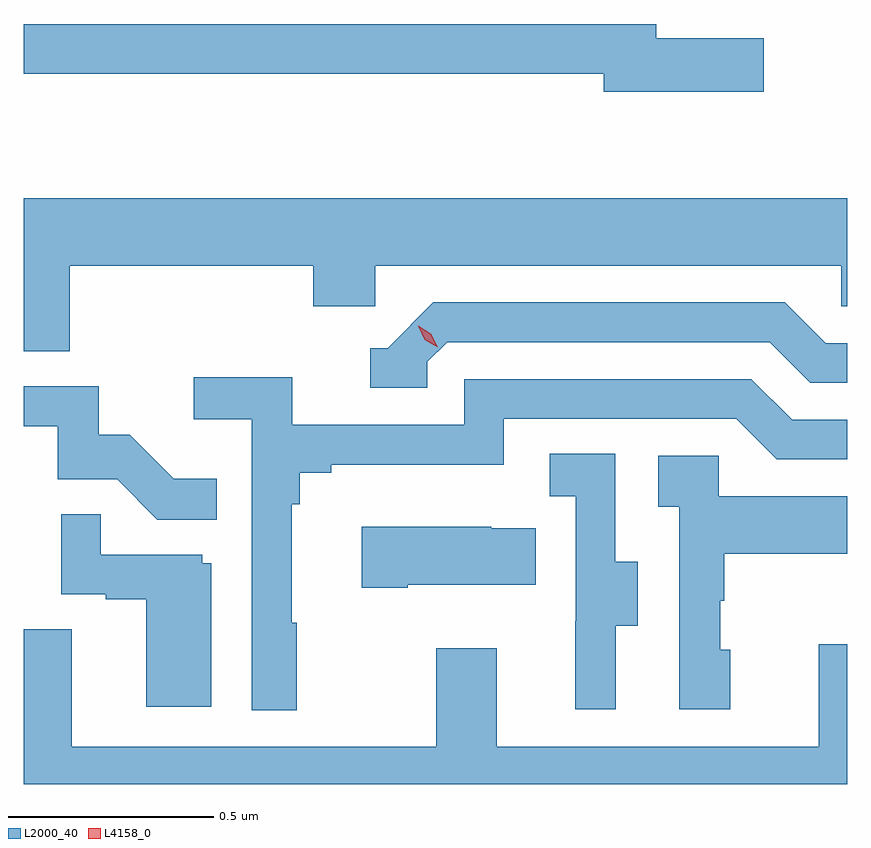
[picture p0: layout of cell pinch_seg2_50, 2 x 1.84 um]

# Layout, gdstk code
import gdstk
lib = gdstk.Library(unit=1e-6, precision=1e-09)
def P(c, l, *ps):  # polygons
    for p in ps: c.add(gdstk.Polygon(p, *l))
L2000_40 = (2000, 40)
L4158_0 = (4158, 0)

pinch_seg2_50 = lib.new_cell('pinch_seg2_50')
P(pinch_seg2_50, L2000_40, [(1018.879,656.181),(1018.618,656.181),(1018.618,656.215),(1017.082,656.215),(1017.082,656.094),(1018.49,656.094),(1018.49,656.051),(1018.879,656.051)],
  [(1017.194,655.628),(1017.785,655.628),(1017.785,655.53),(1017.936,655.53),(1017.936,655.628),(1019.067,655.628),(1019.067,655.53),(1019.082,655.53),(1019.082,655.792),(1017.082,655.792),(1017.082,655.42),(1017.194,655.42)],
  [(1018.062,655.395),(1018.11,655.443),(1018.893,655.443),(1018.992,655.344),(1019.082,655.344),(1019.082,655.44),(1019.029,655.44),(1018.93,655.539),(1018.077,655.539),(1017.966,655.428),(1017.923,655.428),(1017.923,655.332),(1018.062,655.332)],
  [(1017.745,654.761),(1017.733,654.761),(1017.733,655.049),(1017.752,655.049),(1017.752,655.126),(1017.829,655.126),(1017.829,655.145),(1018.248,655.145),(1018.248,655.257),(1018.812,655.257),(1018.911,655.158),(1019.082,655.158),(1019.082,655.254),(1018.948,655.254),(1018.849,655.353),(1018.152,655.353),(1018.152,655.242),(1017.734,655.242),(1017.734,655.358),(1017.495,655.358),(1017.495,655.256),(1017.636,655.256),(1017.636,654.549),(1017.745,654.549)],
  [(1017.551,655.111),(1017.447,655.111),(1017.34,655.218),(1017.264,655.218),(1017.264,655.335),(1017.082,655.335),(1017.082,655.239),(1017.165,655.239),(1017.165,655.11),(1017.309,655.11),(1017.407,655.012),(1017.551,655.012)],
  [(1018.519,654.754),(1018.573,654.754),(1018.573,654.909),(1018.518,654.909),(1018.518,655.172),(1018.359,655.172),(1018.359,655.069),(1018.422,655.069),(1018.422,654.765),(1018.421,654.765),(1018.421,654.552),(1018.519,654.552)],
  [(1018.798,654.696),(1018.773,654.696),(1018.773,654.815),(1018.783,654.815),(1018.783,654.929),(1019.082,654.929),(1019.082,655.069),(1018.77,655.069),(1018.77,655.167),(1018.623,655.167),(1018.623,655.043),(1018.674,655.043),(1018.674,654.552),(1018.798,654.552)],
  [(1017.538,654.906),(1017.516,654.906),(1017.516,654.927),(1017.269,654.927),(1017.269,655.025),(1017.174,655.025),(1017.174,654.831),(1017.281,654.831),(1017.281,654.819),(1017.38,654.819),(1017.38,654.558),(1017.538,654.558)],
  [(1018.015,654.854),(1018.325,654.854),(1018.325,654.991),(1018.217,654.991),(1018.217,654.994),(1017.903,654.994),(1017.903,654.847),(1018.015,654.847)],
  [(1019.082,654.709),(1019.012,654.709),(1019.012,654.46),(1018.231,654.46),(1018.231,654.7),(1018.084,654.7),(1018.084,654.46),(1017.199,654.46),(1017.199,654.746),(1017.082,654.746),(1017.082,654.37),(1019.082,654.37)])
P(pinch_seg2_50, L4158_0, [(1018.087,655.43),(1018.056,655.449),(1018.04,655.482),(1018.04,655.482),(1018.04,655.482),(1018.071,655.463),(1018.087,655.43),(1018.087,655.43)])

lib.write_gds('pinch_seg2_50.gds')
